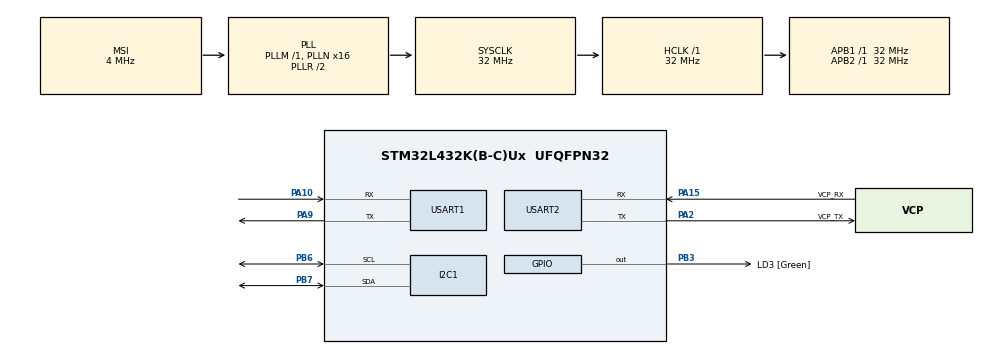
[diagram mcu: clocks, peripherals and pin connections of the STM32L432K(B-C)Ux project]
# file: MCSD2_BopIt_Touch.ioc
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Dma.Request0=USART1_RX
Dma.USART1_RX.0.Direction=DMA_PERIPH_TO_MEMORY
Dma.USART1_RX.0.Instance=DMA1_Channel5
Dma.USART1_RX.0.MemDataAlignment=DMA_MDATAALIGN_BYTE
Dma.USART1_RX.0.MemInc=DMA_MINC_ENABLE
Dma.USART1_RX.0.Mode=DMA_CIRCULAR
Dma.USART1_RX.0.PeriphDataAlignment=DMA_PDATAALIGN_BYTE
Dma.USART1_RX.0.PeriphInc=DMA_PINC_DISABLE
Dma.USART1_RX.0.Priority=DMA_PRIORITY_LOW
FREERTOS.Queues01=touch_event_queue,16,uint16_t,0,Dynamic,NULL,NULL
FREERTOS.Tasks01=touchSensorTask,40,512,start_touch_sensor_task,Default,NULL,Dynamic,NULL,NULL;WiFiDispatcherT,24,512,start_wifi_dispatcher_task,Default,NULL,Dynamic,NULL,NULL
FREERTOS.configTOTAL_HEAP_SIZE=6000
FREERTOS.configUSE_NEWLIB_REENTRANT=1
I2C1.Timing=0x00707CBB
Mcu.Family=STM32L4
Mcu.Name=STM32L432K(B-C)Ux
Mcu.Package=UFQFPN32
NVIC.DMA1_Channel5_IRQn=true\:5\:0\:false\:false\:true\:true\:false\:true
NVIC.PriorityGroup=NVIC_PRIORITYGROUP_4
NVIC.TIM7_IRQn=true\:15\:0\:false\:false\:true\:false\:false\:true
NVIC.TimeBase=TIM7_IRQn
NVIC.TimeBaseIP=TIM7
PA0.GPIO_Label=MCO [High speed clock in]
PA0.Mode=HSE-External-Clock-Source-for-LittleOrca
PA0.Signal=RCC_CK_IN
PA10.Mode=Asynchronous
PA10.Signal=USART1_RX
PA13\ (JTMS-SWDIO).GPIO_Label=SWDIO
PA13\ (JTMS-SWDIO).Mode=Serial_Wire
PA13\ (JTMS-SWDIO).Signal=SYS_JTMS-SWDIO
PA14\ (JTCK-SWCLK).GPIO_Label=SWCLK
PA14\ (JTCK-SWCLK).Mode=Serial_Wire
PA14\ (JTCK-SWCLK).Signal=SYS_JTCK-SWCLK
PA15\ (JTDI).GPIO_Label=VCP_RX
PA15\ (JTDI).Mode=Asynchronous
PA15\ (JTDI).Signal=USART2_RX
PA2.GPIO_Label=VCP_TX
PA2.Mode=Asynchronous
PA2.Signal=USART2_TX
PA9.Mode=Asynchronous
PA9.Signal=USART1_TX
PB3\ (JTDO-TRACESWO).GPIO_Label=LD3 [Green]
PB3\ (JTDO-TRACESWO).Signal=GPIO_Output
PB6.Mode=I2C
PB6.Signal=I2C1_SCL
PB7.Mode=I2C
PB7.Signal=I2C1_SDA
PC14-OSC32_IN\ (PC14).Mode=LSE-External-Oscillator
PC14-OSC32_IN\ (PC14).Signal=RCC_OSC32_IN
PC15-OSC32_OUT\ (PC15).Mode=LSE-External-Oscillator
PC15-OSC32_OUT\ (PC15).Signal=RCC_OSC32_OUT
ProjectManager.HeapSize=0x200
ProjectManager.StackSize=0x400
ProjectManager.TargetToolchain=STM32CubeIDE
RCC.AHBFreq_Value=32000000
RCC.APB1Freq_Value=32000000
RCC.APB1TimFreq_Value=32000000
RCC.APB2Freq_Value=32000000
RCC.APB2TimFreq_Value=32000000
RCC.CortexFreq_Value=32000000
RCC.HCLKFreq_Value=32000000
RCC.HSE_VALUE=8000000
RCC.HSI16_VALUE=16000000
RCC.HSI48_VALUE=48000000
RCC.HSI_VALUE=16000000
RCC.MSI_VALUE=4000000
RCC.PLLMUL=RCC_PLLMUL_4
RCC.PLLN=16
RCC.SYSCLKFreq_VALUE=32000000
RCC.SYSCLKSource=RCC_SYSCLKSOURCE_PLLCLK
RCC.VCOOutputFreq_Value=64000000
USART1.VirtualMode-Asynchronous=VM_ASYNC
USART2.VirtualMode-Asynchronous=VM_ASYNC
VP_FREERTOS_VS_CMSIS_V2.Mode=CMSIS_V2
VP_SYS_VS_tim7.Mode=TIM7
board=NUCLEO-L432KC

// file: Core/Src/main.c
/* USER CODE BEGIN Header */
/**
  ******************************************************************************
  * @file           : main.c
  * @brief          : Main program body
  ******************************************************************************
  * @attention
  *
  * Copyright (c) 2022 STMicroelectronics.
  * All rights reserved.
  *
  * This software is licensed under terms that can be found in the LICENSE file
  * in the root directory of this software component.
  * If no LICENSE file comes with this software, it is provided AS-IS.
  *
  ******************************************************************************
  */
/* USER CODE END Header */
#include "main.h"
#include "cmsis_os.h"

/* USER CODE BEGIN Includes */
#include <string.h>
#include <stdio.h>
#include <errno.h>
#include "CY8C201A0.h"
#include "wifible.h"
/* USER CODE END Includes */

/* USER CODE BEGIN PD */
#define STDIN_FILENO  0
#define STDOUT_FILENO 1
#define STDERR_FILENO 2
/* USER CODE END PD */

 I2C_HandleTypeDef hi2c1;

UART_HandleTypeDef huart1;
UART_HandleTypeDef huart2;
DMA_HandleTypeDef hdma_usart1_rx;

/* Definitions for touchSensorTask */
osThreadId_t touchSensorTaskHandle;
const osThreadAttr_t touchSensorTask_attributes = {
  .name = "touchSensorTask",
  .stack_size = 512 * 4,
  .priority = (osPriority_t) osPriorityHigh,
};
/* Definitions for WiFiDispatcherT */
osThreadId_t WiFiDispatcherTHandle;
const osThreadAttr_t WiFiDispatcherT_attributes = {
  .name = "WiFiDispatcherT",
  .stack_size = 512 * 4,
  .priority = (osPriority_t) osPriorityNormal,
};
/* Definitions for touch_event_queue */
osMessageQueueId_t touch_event_queueHandle;
const osMessageQueueAttr_t touch_event_queue_attributes = {
  .name = "touch_event_queue"
};

void SystemClock_Config(void);
static void MX_GPIO_Init(void);
static void MX_USART2_UART_Init(void);
static void MX_I2C1_Init(void);
static void MX_DMA_Init(void);
static void MX_USART1_UART_Init(void);
void start_touch_sensor_task(void *argument);
void start_wifi_dispatcher_task(void *argument);

int main(void)
{

  /* MCU Configuration--------------------------------------------------------*/

  /* Reset of all peripherals, Initializes the Flash interface and the Systick. */
  HAL_Init();

  /* Configure the system clock */
  SystemClock_Config();

  /* Initialize all configured peripherals */
  MX_GPIO_Init();
  MX_USART2_UART_Init();
  MX_I2C1_Init();
  MX_DMA_Init();
  MX_USART1_UART_Init();

  /* Init scheduler */
  osKernelInitialize();

  /* Create the queue(s) */
  /* creation of touch_event_queue */
  touch_event_queueHandle = osMessageQueueNew (16, sizeof(uint16_t), &touch_event_queue_attributes);

  /* Create the thread(s) */
  /* creation of touchSensorTask */
  touchSensorTaskHandle = osThreadNew(start_touch_sensor_task, NULL, &touchSensorTask_attributes);

  /* creation of WiFiDispatcherT */
  WiFiDispatcherTHandle = osThreadNew(start_wifi_dispatcher_task, NULL, &WiFiDispatcherT_attributes);

  /* Start scheduler */
  osKernelStart();

  /* We should never get here as control is now taken by the scheduler */
  /* Infinite loop */
  while (1)
  {

  }
}

void SystemClock_Config(void)
{
  RCC_OscInitTypeDef RCC_OscInitStruct = {0};
  RCC_ClkInitTypeDef RCC_ClkInitStruct = {0};

  /** Configure the main internal regulator output voltage
  */
  if (HAL_PWREx_ControlVoltageScaling(PWR_REGULATOR_VOLTAGE_SCALE1) != HAL_OK)
  {
    Error_Handler();
  }

  /** Configure LSE Drive Capability
  */
  HAL_PWR_EnableBkUpAccess();
  __HAL_RCC_LSEDRIVE_CONFIG(RCC_LSEDRIVE_LOW);

  /** Initializes the RCC Oscillators according to the specified parameters
  * in the RCC_OscInitTypeDef structure.
  */
  RCC_OscInitStruct.OscillatorType = RCC_OSCILLATORTYPE_LSE|RCC_OSCILLATORTYPE_MSI;
  RCC_OscInitStruct.LSEState = RCC_LSE_ON;
  RCC_OscInitStruct.MSIState = RCC_MSI_ON;
  RCC_OscInitStruct.MSICalibrationValue = 0;
  RCC_OscInitStruct.MSIClockRange = RCC_MSIRANGE_6;
  RCC_OscInitStruct.PLL.PLLState = RCC_PLL_ON;
  RCC_OscInitStruct.PLL.PLLSource = RCC_PLLSOURCE_MSI;
  RCC_OscInitStruct.PLL.PLLM = 1;
  RCC_OscInitStruct.PLL.PLLN = 16;
  RCC_OscInitStruct.PLL.PLLP = RCC_PLLP_DIV7;
  RCC_OscInitStruct.PLL.PLLQ = RCC_PLLQ_DIV2;
  RCC_OscInitStruct.PLL.PLLR = RCC_PLLR_DIV2;
  if (HAL_RCC_OscConfig(&RCC_OscInitStruct) != HAL_OK)
  {
    Error_Handler();
  }

  /** Initializes the CPU, AHB and APB buses clocks
  */
  RCC_ClkInitStruct.ClockType = RCC_CLOCKTYPE_HCLK|RCC_CLOCKTYPE_SYSCLK
                              |RCC_CLOCKTYPE_PCLK1|RCC_CLOCKTYPE_PCLK2;
  RCC_ClkInitStruct.SYSCLKSource = RCC_SYSCLKSOURCE_PLLCLK;
  RCC_ClkInitStruct.AHBCLKDivider = RCC_SYSCLK_DIV1;
  RCC_ClkInitStruct.APB1CLKDivider = RCC_HCLK_DIV1;
  RCC_ClkInitStruct.APB2CLKDivider = RCC_HCLK_DIV1;

  if (HAL_RCC_ClockConfig(&RCC_ClkInitStruct, FLASH_LATENCY_1) != HAL_OK)
  {
    Error_Handler();
  }

  /** Enable MSI Auto calibration
  */
  HAL_RCCEx_EnableMSIPLLMode();
}

static void MX_I2C1_Init(void)
{

  hi2c1.Instance = I2C1;
  hi2c1.Init.Timing = 0x00707CBB;
  hi2c1.Init.OwnAddress1 = 0;
  hi2c1.Init.AddressingMode = I2C_ADDRESSINGMODE_7BIT;
  hi2c1.Init.DualAddressMode = I2C_DUALADDRESS_DISABLE;
  hi2c1.Init.OwnAddress2 = 0;
  hi2c1.Init.OwnAddress2Masks = I2C_OA2_NOMASK;
  hi2c1.Init.GeneralCallMode = I2C_GENERALCALL_DISABLE;
  hi2c1.Init.NoStretchMode = I2C_NOSTRETCH_DISABLE;
  if (HAL_I2C_Init(&hi2c1) != HAL_OK)
  {
    Error_Handler();
  }

  /** Configure Analogue filter
  */
  if (HAL_I2CEx_ConfigAnalogFilter(&hi2c1, I2C_ANALOGFILTER_ENABLE) != HAL_OK)
  {
    Error_Handler();
  }

  /** Configure Digital filter
  */
  if (HAL_I2CEx_ConfigDigitalFilter(&hi2c1, 0) != HAL_OK)
  {
    Error_Handler();
  }

}

static void MX_USART1_UART_Init(void)
{

  huart1.Instance = USART1;
  huart1.Init.BaudRate = 115200;
  huart1.Init.WordLength = UART_WORDLENGTH_8B;
  huart1.Init.StopBits = UART_STOPBITS_1;
  huart1.Init.Parity = UART_PARITY_NONE;
  huart1.Init.Mode = UART_MODE_TX_RX;
  huart1.Init.HwFlowCtl = UART_HWCONTROL_NONE;
  huart1.Init.OverSampling = UART_OVERSAMPLING_16;
  huart1.Init.OneBitSampling = UART_ONE_BIT_SAMPLE_DISABLE;
  huart1.AdvancedInit.AdvFeatureInit = UART_ADVFEATURE_NO_INIT;
  if (HAL_UART_Init(&huart1) != HAL_OK)
  {
    Error_Handler();
  }

}

static void MX_USART2_UART_Init(void)
{

  huart2.Instance = USART2;
  huart2.Init.BaudRate = 115200;
  huart2.Init.WordLength = UART_WORDLENGTH_8B;
  huart2.Init.StopBits = UART_STOPBITS_1;
  huart2.Init.Parity = UART_PARITY_NONE;
  huart2.Init.Mode = UART_MODE_TX_RX;
  huart2.Init.HwFlowCtl = UART_HWCONTROL_NONE;
  huart2.Init.OverSampling = UART_OVERSAMPLING_16;
  huart2.Init.OneBitSampling = UART_ONE_BIT_SAMPLE_DISABLE;
  huart2.AdvancedInit.AdvFeatureInit = UART_ADVFEATURE_NO_INIT;
  if (HAL_UART_Init(&huart2) != HAL_OK)
  {
    Error_Handler();
  }

}

static void MX_DMA_Init(void)
{

  /* DMA controller clock enable */
  __HAL_RCC_DMA1_CLK_ENABLE();

  /* DMA interrupt init */
  /* DMA1_Channel5_IRQn interrupt configuration */
  HAL_NVIC_SetPriority(DMA1_Channel5_IRQn, 5, 0);
  HAL_NVIC_EnableIRQ(DMA1_Channel5_IRQn);

}

static void MX_GPIO_Init(void)
{
  GPIO_InitTypeDef GPIO_InitStruct = {0};

  /* GPIO Ports Clock Enable */
  __HAL_RCC_GPIOC_CLK_ENABLE();
  __HAL_RCC_GPIOA_CLK_ENABLE();
  __HAL_RCC_GPIOB_CLK_ENABLE();

  /*Configure GPIO pin Output Level */
  HAL_GPIO_WritePin(LD3_GPIO_Port, LD3_Pin, GPIO_PIN_RESET);

  /*Configure GPIO pin : LD3_Pin */
  GPIO_InitStruct.Pin = LD3_Pin;
  GPIO_InitStruct.Mode = GPIO_MODE_OUTPUT_PP;
  GPIO_InitStruct.Pull = GPIO_NOPULL;
  GPIO_InitStruct.Speed = GPIO_SPEED_FREQ_LOW;
  HAL_GPIO_Init(LD3_GPIO_Port, &GPIO_InitStruct);

}

/* USER CODE BEGIN 4 */
/**
 * @brief Function that writes the char pointer to the UART Interface.
 * @param ptr: char pointer to the String
 * @param len: length of the String
 * @retval EIO: returns IO Error
 * @retval len: returns the length of the String and means no error
 * @return returns the length of the string or in case of erros -1 or IO Error
 */
int _write(int file, char *ptr, int len) {
	if (file == STDOUT_FILENO || file == STDERR_FILENO) {
		//Write String over UART to Terminal
		if (HAL_UART_Transmit(&huart2, (uint8_t*) ptr, len, HAL_MAX_DELAY)
				== HAL_OK) {
			return len;
		} else {
			//return IO Error
			return EIO;
		}
	}
	//Return File Descriptor Error
	errno = EBADF;
	return -1;
}
/* USER CODE END 4 */

void start_touch_sensor_task(void *argument)
{
  /* USER CODE BEGIN 5 */
	while(1)
	{
		HAL_StatusTypeDef init_result = CY8_init(	&hi2c1,
													&huart2,
													CY8C201A0_CAPSENSE_0_CONFIG_TOP | CY8C201A0_CAPSENSE_0_CONFIG_BOTTOM,
													CY8C201A0_CAPSENSE_1_CONFIG_ALL,
													5,
													0x10);

		if (HAL_OK == init_result)
		{
			HAL_UART_Transmit(&huart2, (uint8_t *) "CY8C201A0 initiated\r\n", strlen("CY8C201A0 initiated\r\n"), 1000);
			break;
		}
		else
		{
			HAL_UART_Transmit(&huart2, (uint8_t *) "CY8C201A0 initiation failed, retrying...\r\n", strlen("CY8C201A0 initiation failed, retrying...\r\n"), 1000);
			osDelay(3000);
		}
	}

	/* Used to register when a button has been released */
	uint8_t top_button_prev = 0;
	uint8_t bottom_button_prev = 0;
	uint8_t mid_button_prev = 0;

	/* Infinite loop */
	for(;;) {

		uint8_t cs0_read = 0;
		uint8_t cs1_read = 0;

		if (CY8_read_capsense_0(&hi2c1, &cs0_read) != HAL_OK)
		{
			HAL_UART_Transmit(&huart2, (uint8_t *) "i2c error on cp 0 read\r\n", strlen("i2c error on cp 0 read\r\n"), 1000);
			osDelay(1450);
			continue;

		}

		if (CY8_read_capsense_1(&hi2c1, &cs1_read) != HAL_OK)
		{
			HAL_UART_Transmit(&huart2, (uint8_t *) "i2c error on cp 1 read\r\n", strlen("i2c error on cp 1 read\r\n"), 1000);
			osDelay(1450);
			continue;
		}

		uint8_t top_button_current = cs0_read & CY8C201A0_CAPSENSE_0_CONFIG_TOP;
		uint8_t bottom_button_current = cs0_read & CY8C201A0_CAPSENSE_0_CONFIG_BOTTOM;

		/* Rising edge */
		if (top_button_current && !top_button_prev)
		{
			uint16_t touch_msg = CY8C201A0_CAPSENSE_0_CONFIG_TOP;
			osMessageQueuePut(touch_event_queueHandle, &touch_msg, 0, osWaitForever);
		}

		if (bottom_button_current && !bottom_button_prev)
		{
			uint16_t touch_msg = CY8C201A0_CAPSENSE_0_CONFIG_BOTTOM;
			osMessageQueuePut(touch_event_queueHandle, &touch_msg, 0, osWaitForever);
		}

		if (cs1_read && !mid_button_prev)
		{
			uint16_t touch_msg = CY8C201A0_CAPSENSE_1_CONFIG_ALL;
			osMessageQueuePut(touch_event_queueHandle, &touch_msg, 0, osWaitForever);
		}

		top_button_prev = top_button_current;
		bottom_button_prev = bottom_button_current;
		mid_button_prev = cs1_read;

		osDelay(50);

	}
  /* USER CODE END 5 */
}

void start_wifi_dispatcher_task(void *argument)
{
  /* USER CODE BEGIN start_wifi_dispatcher_task */
  /* Infinite loop */

	wifible_init(&huart1);
	connectWifi("Florian Handy", "florianparzer");

  for(;;)
  {
    uint16_t message = 0;

    if (osMessageQueueGet(touch_event_queueHandle, &message, 0, osWaitForever) == osOK)
    {
    	switch (message)
    	{
    	case CY8C201A0_CAPSENSE_0_CONFIG_TOP:
    		sendHttpPost("192.168.43.198", "/api/challenges", 1, TOUCH_TOP);
    		HAL_UART_Transmit(&huart2, (uint8_t*) "Top button pressed\r\n", strlen("Top button pressed\r\n"), 1000);
    		break;
    	case CY8C201A0_CAPSENSE_0_CONFIG_BOTTOM:
    		sendHttpPost("192.168.43.198", "/api/challenges", 1, TOUCH_BOTTOM);
    		HAL_UART_Transmit(&huart2, (uint8_t*) "Bottom button pressed\r\n", strlen("Bottom button pressed\r\n"), 1000);
    		break;
    	case CY8C201A0_CAPSENSE_1_CONFIG_ALL:
    		sendHttpPost("192.168.43.198", "/api/challenges", 1, TOUCH_MID);
    		HAL_UART_Transmit(&huart2, (uint8_t*) "Mid button pressed\r\n", strlen("Mid button pressed\r\n"), 1000);
    		break;
    	default:
    		HAL_UART_Transmit(&huart2, (uint8_t*) "Invalid queue message\r\n", strlen("Invalid queue message\r\n"), 1000);
    		break;
    	}
    }

  }
  /* USER CODE END start_wifi_dispatcher_task */
}

void HAL_TIM_PeriodElapsedCallback(TIM_HandleTypeDef *htim)
{
  if (htim->Instance == TIM7) {
    HAL_IncTick();
  }
}

void Error_Handler(void)
{
  __disable_irq();
  while (1)
  {
  }
}
